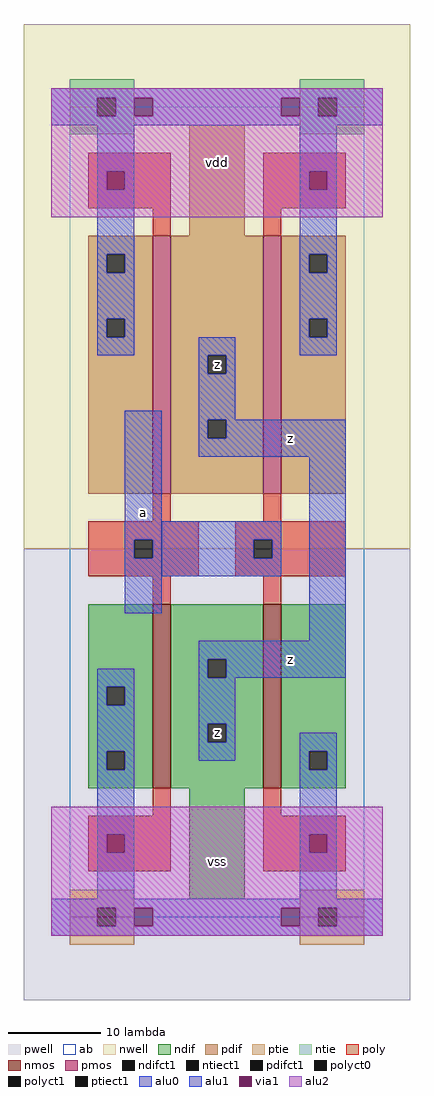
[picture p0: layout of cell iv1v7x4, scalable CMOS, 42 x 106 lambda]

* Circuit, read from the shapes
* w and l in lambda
.subckt iv1v7x4 a vdd vss z
M1 z a vss vss nfet w=20 l=2 m=2
M2 z a vdd vdd pfet w=28 l=2 m=2
.ends

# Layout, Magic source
magic
tech scmos
<< ab >>
rect 0 0 32 88
<< nwell >>
rect -5 40 37 97
<< pwell >>
rect -5 -9 37 40
<< poly >>
rect 2 77 11 83
rect 9 74 11 77
rect 21 77 30 83
rect 21 74 23 77
rect 9 43 11 46
rect 21 43 23 46
rect 2 41 14 43
rect 2 39 7 41
rect 9 39 14 41
rect 2 37 14 39
rect 18 41 30 43
rect 18 39 20 41
rect 22 39 30 41
rect 18 37 30 39
rect 9 34 11 37
rect 21 34 23 37
rect 9 11 11 14
rect 2 5 11 11
rect 21 11 23 14
rect 21 5 30 11
<< ndif >>
rect 2 25 9 34
rect 2 23 4 25
rect 6 23 9 25
rect 2 18 9 23
rect 2 16 4 18
rect 6 16 9 18
rect 2 14 9 16
rect 11 28 21 34
rect 11 26 15 28
rect 17 26 21 28
rect 11 21 21 26
rect 11 19 15 21
rect 17 19 21 21
rect 11 14 21 19
rect 23 18 30 34
rect 23 16 26 18
rect 28 16 30 18
rect 23 14 30 16
rect 13 2 19 14
<< pdif >>
rect 13 74 19 86
rect 2 72 9 74
rect 2 70 4 72
rect 6 70 9 72
rect 2 65 9 70
rect 2 63 4 65
rect 6 63 9 65
rect 2 46 9 63
rect 11 61 21 74
rect 11 59 15 61
rect 17 59 21 61
rect 11 54 21 59
rect 11 52 15 54
rect 17 52 21 54
rect 11 46 21 52
rect 23 72 30 74
rect 23 70 26 72
rect 28 70 30 72
rect 23 65 30 70
rect 23 63 26 65
rect 28 63 30 65
rect 23 46 30 63
<< alu1 >>
rect -2 89 34 90
rect -2 87 3 89
rect 5 87 7 89
rect 9 87 23 89
rect 25 87 27 89
rect 29 87 34 89
rect -2 86 34 87
rect 3 81 7 86
rect 3 79 4 81
rect 6 79 7 81
rect 3 72 7 79
rect 3 70 4 72
rect 6 70 7 72
rect 3 65 7 70
rect 3 63 4 65
rect 6 63 7 65
rect 25 81 29 86
rect 25 79 26 81
rect 28 79 29 81
rect 25 72 29 79
rect 25 70 26 72
rect 28 70 29 72
rect 25 65 29 70
rect 25 63 26 65
rect 28 63 29 65
rect 3 61 7 63
rect 14 61 18 63
rect 25 61 29 63
rect 14 59 15 61
rect 17 59 18 61
rect 6 41 10 55
rect 14 54 18 59
rect 14 52 15 54
rect 17 52 30 54
rect 14 50 30 52
rect 6 39 7 41
rect 9 39 10 41
rect 6 33 10 39
rect 26 30 30 50
rect 14 28 30 30
rect 3 25 7 27
rect 3 23 4 25
rect 6 23 7 25
rect 3 18 7 23
rect 3 16 4 18
rect 6 16 7 18
rect 14 26 15 28
rect 17 26 30 28
rect 14 21 18 26
rect 14 19 15 21
rect 17 19 18 21
rect 14 17 18 19
rect 25 18 29 20
rect 3 9 7 16
rect 3 7 4 9
rect 6 7 7 9
rect 3 2 7 7
rect 25 16 26 18
rect 28 16 29 18
rect 25 9 29 16
rect 25 7 26 9
rect 28 7 29 9
rect 25 2 29 7
rect -2 1 34 2
rect -2 -1 3 1
rect 5 -1 7 1
rect 9 -1 23 1
rect 25 -1 27 1
rect 29 -1 34 1
rect -2 -2 34 -1
<< alu2 >>
rect -2 89 34 90
rect -2 87 7 89
rect 9 87 23 89
rect 25 87 34 89
rect -2 81 34 87
rect -2 79 4 81
rect 6 79 26 81
rect 28 79 34 81
rect -2 76 34 79
rect -2 9 34 12
rect -2 7 4 9
rect 6 7 26 9
rect 28 7 34 9
rect -2 1 34 7
rect -2 -1 7 1
rect 9 -1 23 1
rect 25 -1 34 1
rect -2 -2 34 -1
<< ptie >>
rect 0 1 7 3
rect 0 -1 3 1
rect 5 -1 7 1
rect 0 -3 7 -1
rect 25 1 32 3
rect 25 -1 27 1
rect 29 -1 32 1
rect 25 -3 32 -1
<< ntie >>
rect 0 89 7 91
rect 0 87 3 89
rect 5 87 7 89
rect 0 85 7 87
rect 25 89 32 91
rect 25 87 27 89
rect 29 87 32 89
rect 25 85 32 87
<< nmos >>
rect 9 14 11 34
rect 21 14 23 34
<< pmos >>
rect 9 46 11 74
rect 21 46 23 74
<< polyct0 >>
rect 20 39 22 41
<< polyct1 >>
rect 7 39 9 41
<< ndifct1 >>
rect 4 23 6 25
rect 4 16 6 18
rect 15 26 17 28
rect 15 19 17 21
rect 26 16 28 18
<< ntiect1 >>
rect 3 87 5 89
rect 27 87 29 89
<< ptiect1 >>
rect 3 -1 5 1
rect 27 -1 29 1
<< pdifct1 >>
rect 4 70 6 72
rect 4 63 6 65
rect 15 59 17 61
rect 15 52 17 54
rect 26 70 28 72
rect 26 63 28 65
<< alu0 >>
rect 10 41 23 43
rect 10 39 20 41
rect 22 39 23 41
rect 10 37 23 39
<< via1 >>
rect 7 87 9 89
rect 23 87 25 89
rect 4 79 6 81
rect 26 79 28 81
rect 4 7 6 9
rect 26 7 28 9
rect 7 -1 9 1
rect 23 -1 25 1
<< labels >>
rlabel alu1 8 44 8 44 6 a
rlabel ndifct1 16 20 16 20 6 z
rlabel pdifct1 16 60 16 60 6 z
rlabel alu1 24 28 24 28 6 z
rlabel alu1 24 52 24 52 6 z
rlabel alu2 16 6 16 6 6 vss
rlabel alu2 16 6 16 6 6 vss
rlabel alu2 16 82 16 82 6 vdd
<< end >>
